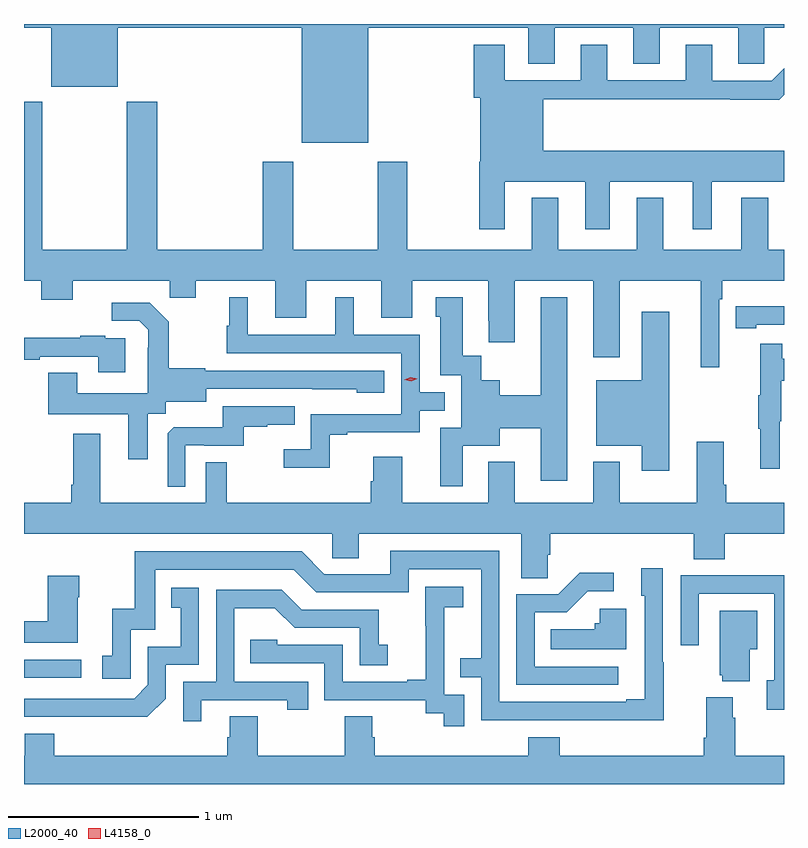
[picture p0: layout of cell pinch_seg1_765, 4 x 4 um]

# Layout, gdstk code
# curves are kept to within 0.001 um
import gdstk
lib = gdstk.Library(unit=1e-6, precision=1e-09)
def R(c, l, rs):  # rectangles x0, y0, x1, y1
    for r in rs: c.add(gdstk.rectangle(r[:2], r[2:], *l))
def P(c, l, *ps):  # polygons
    for p in ps: c.add(gdstk.Polygon(p, *l))
L2000_40 = (2000, 40)
L4158_0 = (4158, 0)

pinch_seg1_765 = lib.new_cell('pinch_seg1_765')
R(pinch_seg1_765, L2000_40, [(526.191,546.978,526.492,547.074)])
P(pinch_seg1_765, L2000_40, [(528.004,550.4),(528.845,550.4),(528.845,550.21),(528.985,550.21),(528.985,550.4),(529.397,550.4),(529.397,550.21),(529.537,550.21),(529.537,550.4),(529.949,550.4),(529.949,550.21),(530.088,550.21),(530.088,550.4),(530.191,550.4),(530.191,550.42),(526.191,550.42),(526.191,550.4),(526.334,550.4),(526.334,550.091),(526.684,550.091),(526.684,550.4),(527.654,550.4),(527.654,549.794),(528.004,549.794)],
  [(528.721,549.59),(529.145,549.59),(529.145,549.339),(529.273,549.339),(529.273,549.59),(529.712,549.59),(529.712,549.339),(529.81,549.339),(529.81,549.59),(530.191,549.59),(530.191,549.754),(528.925,549.754),(528.925,550.024),(529.909,550.024),(529.909,550.022),(530.165,550.022),(530.191,550.048),(530.191,550.186),(530.127,550.122),(529.813,550.122),(529.813,550.312),(529.673,550.312),(529.673,550.125),(529.261,550.125),(529.261,550.312),(529.121,550.312),(529.121,550.125),(528.721,550.125),(528.721,550.312),(528.557,550.312),(528.557,550.032),(528.593,550.032),(528.593,549.694),(528.586,549.694),(528.586,549.339),(528.721,549.339)],
  [(527.513,548.874),(527.677,548.874),(527.677,549.068),(528.071,549.068),(528.071,548.874),(528.235,548.874),(528.235,549.068),(528.635,549.068),(528.635,548.857),(528.638,548.857),(528.638,548.745),(528.775,548.745),(528.775,549.068),(529.187,549.068),(529.187,548.667),(529.327,548.667),(529.327,549.068),(529.754,549.068),(529.754,548.613),(529.851,548.613),(529.851,548.972),(529.865,548.972),(529.865,549.068),(530.191,549.068),(530.191,549.232),(530.107,549.232),(530.107,549.505),(529.967,549.505),(529.967,549.232),(529.555,549.232),(529.555,549.505),(529.415,549.505),(529.415,549.232),(529.003,549.232),(529.003,549.505),(528.863,549.505),(528.863,549.232),(528.207,549.232),(528.207,549.694),(528.052,549.694),(528.052,549.232),(527.607,549.232),(527.607,549.694),(527.447,549.694),(527.447,549.232),(526.892,549.232),(526.892,550.012),(526.732,550.012),(526.732,549.232),(526.287,549.232),(526.287,550.012),(526.191,550.012),(526.191,549.068),(526.283,549.068),(526.283,548.969),(526.447,548.969),(526.447,549.068),(526.957,549.068),(526.957,548.978),(527.095,548.978),(527.095,549.068),(527.513,549.068)],
  [(527.799,548.259),(527.893,548.259),(527.893,548.271),(528.273,548.271),(528.273,548.385),(528.406,548.385),(528.406,548.481),(528.273,548.481),(528.273,548.784),(527.926,548.784),(527.926,548.983),(527.828,548.983),(527.828,548.784),(527.368,548.784),(527.368,548.983),(527.27,548.983),(527.27,548.832),(527.259,548.832),(527.259,548.688),(528.177,548.688),(528.177,548.367),(527.7,548.367),(527.7,548.182),(527.559,548.182),(527.559,548.084),(527.799,548.084)],
  [(528.499,548.201),(528.694,548.201),(528.694,548.293),(528.911,548.293),(528.911,548.016),(529.051,548.016),(529.051,548.983),(528.911,548.983),(528.911,548.465),(528.694,548.465),(528.694,548.545),(528.597,548.545),(528.597,548.675),(528.499,548.675),(528.499,548.983),(528.359,548.983),(528.359,548.88),(528.383,548.88),(528.383,548.571),(528.492,548.571),(528.492,548.295),(528.383,548.295),(528.383,547.986),(528.499,547.986)],
  [(526.843,548.368),(526.938,548.368),(526.938,548.432),(527.149,548.432),(527.149,548.499),(527.943,548.498),(527.943,548.48),(528.088,548.48),(528.088,548.595),(527.145,548.595),(527.145,548.608),(526.953,548.608),(526.953,548.853),(526.853,548.953),(526.653,548.953),(526.653,548.859),(526.797,548.859),(526.844,548.812),(526.844,548.717),(526.842,548.717),(526.842,548.476),(526.471,548.476),(526.471,548.585),(526.319,548.585),(526.319,548.366),(526.739,548.366),(526.739,548.13),(526.843,548.13)],
  [(530.044,548.838),(530.191,548.838),(530.191,548.935),(530.044,548.935),(530.044,548.934),(529.936,548.934),(529.936,548.818),(530.044,548.818)],
  [(529.588,548.905),(529.442,548.905),(529.442,548.545),(529.202,548.545),(529.202,548.201),(529.442,548.201),(529.442,548.07),(529.588,548.07)],
  [(526.723,548.766),(526.619,548.766),(526.619,548.779),(526.487,548.779),(526.487,548.768),(526.191,548.768),(526.191,548.652),(526.273,548.652),(526.273,548.67),(526.583,548.67),(526.583,548.586),(526.723,548.586)],
  [(530.168,548.328),(530.176,548.328),(530.176,548.542),(530.191,548.542),(530.191,548.658),(530.183,548.658),(530.183,548.737),(530.066,548.737),(530.066,548.465),(530.055,548.465),(530.055,548.291),(530.066,548.291),(530.066,548.079),(530.168,548.079)],
  [(527.04,548.202),(527.14,548.202),(527.14,548.199),(527.348,548.199),(527.348,548.301),(527.471,548.301),(527.471,548.312),(527.615,548.312),(527.615,548.409),(527.238,548.409),(527.238,548.297),(526.979,548.297),(526.947,548.265),(526.947,547.985),(527.04,547.985)],
  [(529.873,547.996),(529.873,548.221),(529.733,548.221),(529.733,547.9),(529.327,547.9),(529.327,548.116),(529.187,548.116),(529.187,547.9),(528.775,547.9),(528.775,548.116),(528.635,548.116),(528.635,547.9),(528.181,547.9),(528.181,548.143),(528.029,548.143),(528.029,548.013),(528.017,548.013),(528.017,547.9),(527.257,547.9),(527.257,548.114),(527.148,548.114),(527.148,547.9),(526.591,547.9),(526.591,548.263),(526.451,548.263),(526.451,547.996),(526.439,547.996),(526.439,547.9),(526.191,547.9),(526.191,547.736),(527.814,547.736),(527.814,547.609),(527.953,547.609),(527.953,547.736),(528.809,547.736),(528.809,547.504),(528.948,547.504),(528.948,547.627),(528.962,547.627),(528.962,547.736),(529.715,547.736),(529.715,547.603),(529.88,547.603),(529.88,547.736),(530.191,547.736),(530.191,547.9),(529.886,547.9),(529.886,547.996)],
  [(529.557,547.061),(529.554,547.061),(529.554,547.555),(529.439,547.555),(529.439,547.41),(529.458,547.41),(529.458,546.865),(529.361,546.865),(529.361,546.852),(528.693,546.852),(528.693,547.647),(528.119,547.647),(528.119,547.524),(527.772,547.524),(527.652,547.644),(526.773,547.644),(526.773,547.342),(526.655,547.342),(526.655,547.095),(526.602,547.095),(526.602,546.975),(526.752,546.975),(526.752,547.233),(526.881,547.233),(526.881,547.548),(527.61,547.548),(527.73,547.428),(528.216,547.428),(528.216,547.551),(528.597,547.551),(528.597,547.082),(528.487,547.082),(528.487,546.981),(528.597,546.981),(528.597,546.756),(529.557,546.755)],
  [(529.318,547.038),(528.879,547.038),(528.879,547.323),(529.048,547.323),(529.159,547.434),(529.294,547.434),(529.294,547.532),(529.115,547.532),(529.002,547.419),(528.783,547.419),(528.783,546.942),(529.318,546.942)],
  [(530.191,547.52),(529.963,547.52),(529.963,547.518),(529.647,547.518),(529.647,547.149),(529.743,547.149),(529.743,547.422),(530.139,547.422),(530.139,546.966),(530.099,546.966),(530.099,546.81),(530.191,546.81)],
  [(526.474,547.403),(526.482,547.403),(526.482,547.516),(526.316,547.516),(526.316,547.277),(526.191,547.277),(526.191,547.163),(526.474,547.163)],
  [(528.507,546.891),(528.402,546.891),(528.402,547.121),(528.404,547.121),(528.404,547.349),(528.502,547.349),(528.502,547.459),(528.304,547.459),(528.304,547.253),(528.305,547.253),(528.305,546.97),(528.209,546.97),(528.209,546.957),(527.868,546.957),(527.868,547.152),(527.523,547.152),(527.523,547.179),(527.383,547.179),(527.383,547.056),(527.772,547.056),(527.772,546.861),(528.306,546.861),(528.306,546.793),(528.399,546.793),(528.399,546.723),(528.507,546.723)],
  [(526.938,546.87),(526.938,547.047),(527.112,547.047),(527.112,547.453),(526.966,547.453),(526.966,547.347),(527.015,547.347),(527.015,547.143),(526.842,547.143),(526.842,546.942),(526.77,546.87),(526.191,546.87),(526.191,546.774),(526.84,546.773)],
  [(527.125,546.861),(527.576,546.861),(527.576,546.81),(527.687,546.81),(527.687,546.957),(527.298,546.957),(527.298,547.346),(527.512,547.346),(527.616,547.242),(527.958,547.242),(527.958,547.044),(528.106,547.044),(528.106,547.153),(528.057,547.153),(528.057,547.338),(527.653,547.338),(527.548,547.443),(527.202,547.443),(527.202,546.957),(527.028,546.957),(527.028,546.75),(527.125,546.75)],
  [(529.36,547.342),(529.221,547.342),(529.221,547.266),(529.195,547.266),(529.195,547.234),(528.964,547.234),(528.964,547.13),(529.36,547.13)],
  [(530.011,547.13),(530.05,547.13),(530.05,547.333),(529.853,547.333),(529.853,546.993),(529.865,546.993),(529.865,546.962),(530.011,546.962)],
  [(530.191,546.568),(529.934,546.568),(529.934,546.77),(529.921,546.77),(529.921,546.877),(529.781,546.877),(529.781,546.664),(529.769,546.664),(529.769,546.568),(529.01,546.568),(529.01,546.667),(528.845,546.667),(528.845,546.568),(528.038,546.568),(528.038,546.666),(528.025,546.666),(528.025,546.776),(527.878,546.776),(527.878,546.568),(527.421,546.568),(527.421,546.776),(527.273,546.776),(527.273,546.666),(527.261,546.666),(527.261,546.568),(526.349,546.568),(526.349,546.685),(526.196,546.685),(526.196,546.568),(526.191,546.568),(526.191,546.42),(530.191,546.42)])
P(pinch_seg1_765, L4158_0, [(528.228,548.54),(528.193,548.548),(528.192,548.548),(528.193,548.548),(528.226,548.56),(528.262,548.553),(528.262,548.553),(528.262,548.553)])

lib.write_gds('pinch_seg1_765.gds')
